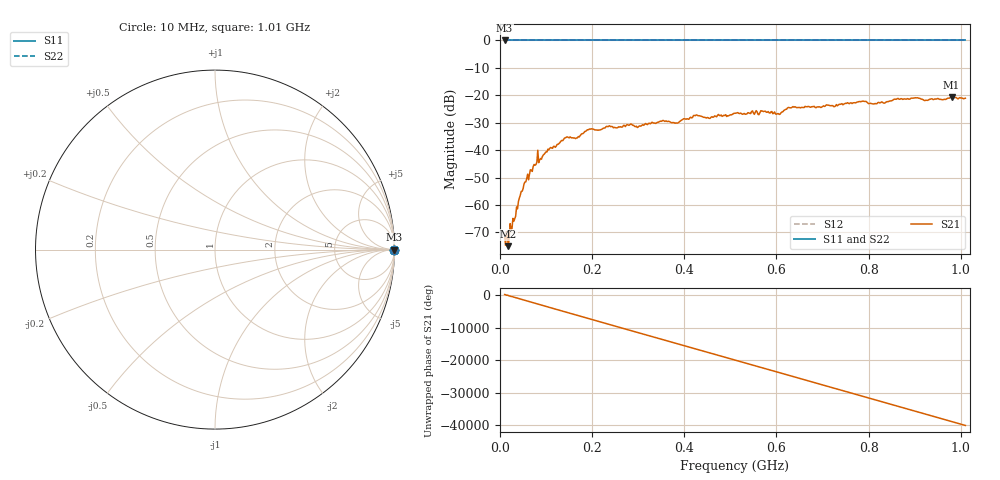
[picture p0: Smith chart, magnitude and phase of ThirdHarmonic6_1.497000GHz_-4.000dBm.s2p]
! 8/16/2025 5:33:54 PM
! C:\ANRITSUVNA\TEMP\TEMP.S2P
! CHANNEL.1
! TR.MEASUREMENT
! RAW.DATA
! RF.CORRECTION.OFF
! AVERAGING.OFF
! IF.BANDWIDTH: 5KHZ
! SWEEPTYPE:  FREQ.SWEEP(Linear)
! Reference Plane Port Info
! PORT:  PORT1  PORT2
! DISTANCE:  0  m  0  m
! TIME:  0  s  0  s
! PHASE.OFFSET:  0  deg.  0  deg.
! LOSS:  0  dB  0  dB
! REF.LOSS:  0  dB  0  dB
! REF.FREQ:  0  Hz  0  Hz
! Power Info
! POWER:  -20  dBm  -20  dBm
! EFF.POWER:  -20  dBm  -20  dBm
! SOURCE.ATTEN:  0  dB  0  dB
! TEST.ATTEN:  0  dB  0  dB
# GHZ S RI R 50.0
! FREQ.GHZ  S11RE  S11IM  S21RE  S21IM  S12RE  S12IM  S22RE  S22IM
!; PortSelection: Port_12
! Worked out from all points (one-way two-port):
!   501 points, 10 MHz to 1.01 GHz, reference 50 ohm
!   highest |S21| = -20.68 dB at 980 MHz (marker M1); lowest = -75.0 dB at 18 MHz (marker M2)
!   lowest |S11| = 0.0 dB at 10 MHz (marker M3)
!   |S11| at or under -10 dB: nowhere
!   |S22| runs from 0.0 to 0.0 dB; largest |S21 - S12| = 1.1
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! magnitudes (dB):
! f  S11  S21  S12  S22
! 10 MHz  0.0  -71.2  0.0  0.0
! 16 MHz  0.0  -71.5  0.0  0.0
! 18 MHz  0.0  -75.0  0.0  0.0
! 22 MHz  0.0  -66.8  0.0  0.0
! 44 MHz  0.0  -56.4  0.0  0.0
! 56 MHz  0.0  -51.5  0.0  0.0
! 78 MHz  0.0  -45.2  0.0  0.0
! 142 MHz  0.0  -35.5  0.0  0.0
! 178 MHz  0.0  -34.0  0.0  0.0
! 234 MHz  0.0  -31.5  0.0  0.0
! 298 MHz  0.0  -31.7  0.0  0.0
! 344 MHz  0.0  -29.8  0.0  0.0
! 384 MHz  0.0  -30.1  0.0  0.0
! 424 MHz  0.0  -27.4  0.0  0.0
! 452 MHz  0.0  -28.2  0.0  0.0
! 510 MHz  0.0  -26.5  0.0  0.0
! 604 MHz  0.0  -26.7  0.0  0.0
! 628 MHz  0.0  -24.5  0.0  0.0
! 678 MHz  0.0  -24.2  0.0  0.0
! 844 MHz  0.0  -22.2  0.0  0.0
! 980 MHz  0.0  -20.7  0.0  0.0
! 1.01 GHz  0.0  -21.1  0.0  0.0
